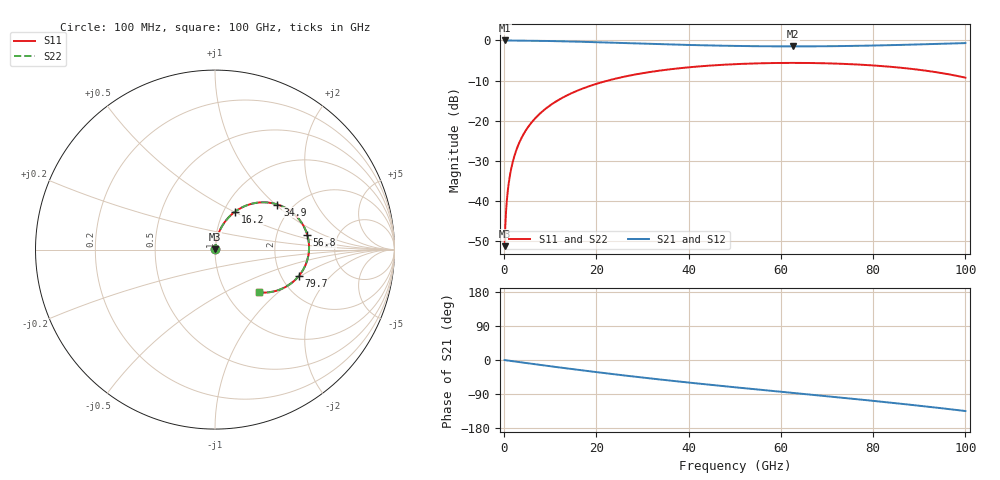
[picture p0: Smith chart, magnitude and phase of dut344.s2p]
! Touchstone file exported from HFSS 2026.1.0
!  File:  C:/ffzhzh/LocalFiles/Ansys_Project_Files/temp_train_RDL_344_1783503090_31944.aedt
!  Generated:  05:33:07 PM Jul  8, 2026
!  Design:  RDL
!  Project:  temp_train_RDL_344_1783503090_31944
! Variables:
!  h_bsmrdl = 2um
!  h_ox = 20um
!  h_rdl = 5um
!  h_sub = 80um
!  h_tmrdl = 3.53um
!  h_tsv = 80um
!  h_via = 3um
!  l_bsmrdl = 300um
!  l_sub = 851.82um
!  l_tmrdl = 451.82um
!  m_sub = 200um
!  pitch = 50.65um
!  r_tsv = 6um
!  s_tmrdl = 10um
!  w_bsmrdl = 18um
!  w_sub = 500um
!  w_tmrdl = 24.83um
!  x_tsv_center1 = 464.235um
!  x_tsv_center2 = 782.235um
!  x_tsv_center3 = 1258.885um
!  x_tsv_center4 = 1576.885um
!  x_tsv_center5 = 2053.535um
!  x_tsv_center6 = 2371.535um
# GHz S MA R 50.000000
! Terminal data exported
! Port[1] = TM_RDL1_1_T1
! Port[2] = TM_RDL1_1_T2
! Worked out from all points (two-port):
!   1000 points, 100 MHz to 100 GHz, reference 50 ohm
!   highest |S21| = -0.02 dB at 100 MHz (marker M1); lowest = -1.5 dB at 62.7 GHz (marker M2)
!   |S21| within 3 dB of the highest: start of sweep to end of sweep
!   lowest |S11| = -51.3 dB at 100 MHz (marker M3), VSWR 1.01, Z = 50.2 + j0.182 ohm
!   |S11| at or under -10 dB: start of sweep to 22.52 GHz
!   |S22| runs from -51.3 to -5.6 dB; largest |S21 - S12| = 1.6e-14
!   S11 on the Smith chart (normalised r, x): 100 MHz: 1.00, +0.00; 16.2 GHz: 1.13, +0.51; 34.9 GHz: 1.67, +1.03; 56.8 GHz: 3.00, +0.68; 79.7 GHz: 2.47, -0.97; 100 GHz: 1.41, -0.76
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0.1  0.002734 41.4  0.998 -0.2  0.998 -0.2  0.002734 41.4
! Gamma 0 0 0 0
! Port Impedance 50 0 50 0
0.8  0.01356 77.6  0.9973 -1.4  0.9973 -1.4  0.01356 77.6
1.1  0.01832 79.7  0.9972 -1.9  0.9972 -1.9  0.01832 79.7
1.4  0.02312 80.8  0.997 -2.4  0.997 -2.4  0.02312 80.8
2.4  0.03917 81.5  0.9962 -4.0  0.9962 -4.0  0.03917 81.5
3.9  0.06306 80.2  0.9944 -6.5  0.9944 -6.5  0.06306 80.2
5.9  0.09427 77.4  0.9911 -9.8  0.9911 -9.8  0.09427 77.5
8.6  0.135 73.4  0.9852 -14.2  0.9852 -14.2  0.135 73.4
12  0.184 68.2  0.9762 -19.7  0.9762 -19.7  0.184 68.2
16.2  0.2406 61.9  0.9628 -26.2  0.9628 -26.2  0.2406 62.0
16.8  0.2482 61.0  0.9608 -27.1  0.9608 -27.1  0.2482 61.1
24.2  0.3343 50.3  0.9335 -38.1  0.9335 -38.1  0.3343 50.4
33.4  0.4178 37.8  0.899 -50.9  0.899 -50.9  0.4178 37.9
34.9  0.429 35.8  0.8937 -52.9  0.8937 -52.9  0.429 35.9
50.1  0.5057 17.0  0.853 -72.0  0.853 -72.0  0.5057 17.1
56.8  0.5204 9.1  0.8442 -80.0  0.8442 -80.0  0.5204 9.2
62.7  0.5244 2.3  0.8417 -87.0  0.8417 -87.0  0.5244 2.4
66.7  0.5224 -2.4  0.8429 -91.7  0.8429 -91.7  0.5224 -2.2
79.7  0.4888 -17.8  0.8618 -107.4  0.8618 -107.4  0.4887 -17.7
83.4  0.4711 -22.3  0.871 -112.1  0.871 -112.1  0.471 -22.2
91.9  0.4158 -33.2  0.8971 -123.2  0.8971 -123.2  0.4157 -33.1
100  0.3433 -44.1  0.9255 -134.6  0.9255 -134.6  0.3431 -44.1
